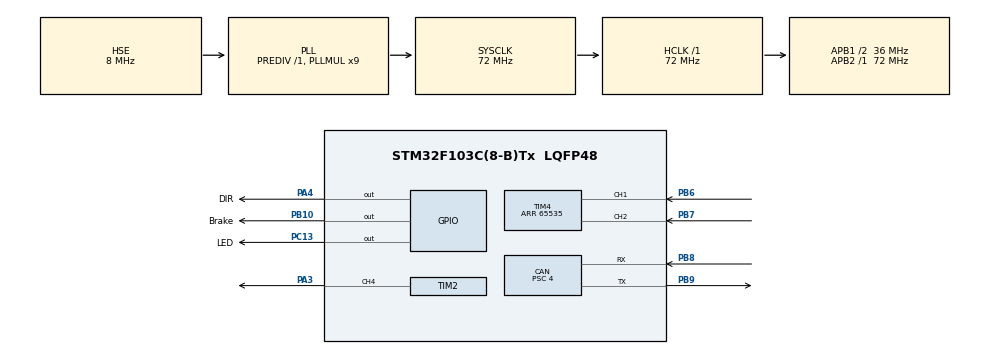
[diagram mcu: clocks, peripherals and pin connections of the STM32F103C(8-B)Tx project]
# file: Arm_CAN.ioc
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CAN.BS1=CAN_BS1_14TQ
CAN.BS2=CAN_BS2_3TQ
CAN.CalculateBaudRate=500000
CAN.CalculateTimeBit=2000
CAN.CalculateTimeQuantum=111.11111111111111
CAN.Prescaler=4
Mcu.Family=STM32F1
Mcu.Name=STM32F103C(8-B)Tx
Mcu.Package=LQFP48
NVIC.CAN1_RX1_IRQn=true\:0\:0\:false\:false\:true\:true\:true\:true
NVIC.PriorityGroup=NVIC_PRIORITYGROUP_4
NVIC.TIM4_IRQn=true\:0\:0\:false\:false\:true\:true\:true\:true
PA13.Mode=Serial_Wire
PA13.Signal=SYS_JTMS-SWDIO
PA14.Mode=Serial_Wire
PA14.Signal=SYS_JTCK-SWCLK
PA3.Signal=S_TIM2_CH4
PA4.GPIO_Label=DIR
PA4.Signal=GPIO_Output
PB10.GPIO_Label=Brake
PB10.Signal=GPIO_Output
PB6.Signal=S_TIM4_CH1
PB7.Signal=S_TIM4_CH2
PB8.Mode=CAN_Activate
PB8.Signal=CAN_RX
PB9.Mode=CAN_Activate
PB9.Signal=CAN_TX
PC13-TAMPER-RTC.GPIO_Label=LED
PC13-TAMPER-RTC.Signal=GPIO_Output
PD0-OSC_IN.Mode=HSE-External-Oscillator
PD0-OSC_IN.Signal=RCC_OSC_IN
PD1-OSC_OUT.Mode=HSE-External-Oscillator
PD1-OSC_OUT.Signal=RCC_OSC_OUT
ProjectManager.HeapSize=0x200
ProjectManager.StackSize=0x400
ProjectManager.TargetToolchain=STM32CubeIDE
RCC.AHBFreq_Value=72000000
RCC.APB1CLKDivider=RCC_HCLK_DIV2
RCC.APB1Freq_Value=36000000
RCC.APB1TimFreq_Value=72000000
RCC.APB2Freq_Value=72000000
RCC.APB2TimFreq_Value=72000000
RCC.HCLKFreq_Value=72000000
RCC.PLLMUL=RCC_PLL_MUL9
RCC.PLLSourceVirtual=RCC_PLLSOURCE_HSE
RCC.SYSCLKFreq_VALUE=72000000
RCC.SYSCLKSource=RCC_SYSCLKSOURCE_PLLCLK
RCC.USBFreq_Value=72000000
SH.S_TIM2_CH4.0=TIM2_CH4,PWM Generation4 CH4
SH.S_TIM4_CH1.0=TIM4_CH1,Encoder_Interface
SH.S_TIM4_CH2.0=TIM4_CH2,Encoder_Interface
TIM2.Channel-PWM\ Generation4\ CH4=TIM_CHANNEL_4
TIM2.Period=255-1
TIM2.Prescaler=18-1
TIM4.AutoReloadPreload=TIM_AUTORELOAD_PRELOAD_ENABLE
TIM4.EncoderMode=TIM_ENCODERMODE_TI12
TIM4.IC1Filter=15
TIM4.IC2Filter=0
TIM4.Period=65535
VP_TIM2_VS_ClockSourceINT.Mode=Internal
board=custom

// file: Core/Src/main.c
/* USER CODE BEGIN Header */
/**
  ******************************************************************************
  * @file           : main.c
  * @brief          : Main program body
  ******************************************************************************
  * @attention
  *
  * Copyright (c) 2024 STMicroelectronics.
  * All rights reserved.
  *
  * This software is licensed under terms that can be found in the LICENSE file
  * in the root directory of this software component.
  * If no LICENSE file comes with this software, it is provided AS-IS.
  *
  ******************************************************************************
  */
/* USER CODE END Header */
#include "main.h"

/* USER CODE BEGIN Includes */
#include <math.h>
#include <stdio.h>
/* USER CODE END Includes */

CAN_HandleTypeDef hcan;

TIM_HandleTypeDef htim2;
TIM_HandleTypeDef htim4;

void SystemClock_Config(void);
static void MX_GPIO_Init(void);
static void MX_CAN_Init(void);
static void MX_TIM4_Init(void);
static void MX_TIM2_Init(void);
/* USER CODE BEGIN PFP */
void resetEncoder(void); //function to reset encoder values when polling stops

/* USER CODE END PFP */

/* USER CODE BEGIN 0 */
//store ID of master CAN node
#define MASTER_ID 0x365

//store ID of first slave CAN node
#define SLAVE0_ID 0x256

//store the ID of the current slave node, change this when uploading
#define SLAVE_ID 0x256 //0x256 //0x257 //0x258

//how many pulses are seen on 1 full rotation
#define MAX_COUNT 1430

CAN_RxHeaderTypeDef RxHeader;
CAN_TxHeaderTypeDef TxHeader;
uint8_t RxData[8];
uint8_t TxData[8];
uint32_t TxMailbox;

//define prefix commands to set up CAN communication
uint8_t sysCheck=0; //000 -> 0
uint8_t polling=7; //111-> 7
uint8_t stopPoll=5; //101-> 5
uint8_t reset=1; //001 -> 1
uint8_t PID_hold = 3; //011 -> 3

//uint32_t encoderReset = 1000000000; //to prevent overflow, we set the initial position

//define variables for storing encoder values
uint32_t currentEnc=0;
uint32_t previousEnc=0; //to calculate velocity
int16_t diff=0;
int32_t pos=0; //absolute position with accuracy of 6'
//int16_t angPos=0; //angular position
uint8_t PWM=0;
uint8_t DIR=0; //PWM and DIR pins for motor direction and speed

// of the motors to a large value about which it can freely deviate

//mapping to arm -> shoulder,elbow,base,wrist1,wrist2,gripper
//arm degrees -> 90, 0, 50%, _, _, _
uint16_t resetPos[]={8660, 0, 59600, 5000, 5000, 5000}; //max count for each node to calculate angular position
//uint32_t home[]={0,0,0,0,0,0};

//powering up the brake releases it
//GPIO_PIN_RESET -> 1 -> pin HIGH
//GPIO_PIN_SET -> 0 -> pin LOW

/* USER CODE END 0 */

int main(void)
{

  /* USER CODE BEGIN 1 */
	//set the values to oscillate about this large value (no overflow)
//	for (uint8_t i=0;i<6;i++)
//	{
//		home[i] = resetPos[i] + encoderReset;
//	}

  /* USER CODE END 1 */

  /* MCU Configuration--------------------------------------------------------*/

  /* Reset of all peripherals, Initializes the Flash interface and the Systick. */
  HAL_Init();

  /* Configure the system clock */
  SystemClock_Config();

  /* Initialize all configured peripherals */
  MX_GPIO_Init();
  MX_CAN_Init();
  MX_TIM4_Init();
  MX_TIM2_Init();
  /* USER CODE BEGIN 2 */
  HAL_CAN_Start(&hcan);
  HAL_CAN_ActivateNotification(&hcan, CAN_IT_RX_FIFO1_MSG_PENDING);

  //start PWM mode for the motor
  HAL_TIM_PWM_Start(&htim2, TIM_CHANNEL_4);
  TIM2->CCR4=0; //set initial PWM value as zero
  HAL_GPIO_WritePin(DIR_GPIO_Port, DIR_Pin,DIR); //set the initial value of DIR
  //start TIM4 in encoder mode to read the encoder pulses in 4x mode
  HAL_TIM_Encoder_Start(&htim4, TIM_CHANNEL_ALL);

  //reset the encoders at the start
  resetEncoder();

  TxHeader.IDE=CAN_ID_STD;
  TxHeader.RTR=CAN_RTR_DATA;
  TxHeader.StdId=SLAVE_ID; // ID of this CAN node

  /* USER CODE END 2 */

  /* Infinite loop */
  while (1)
  {

  }
}

void SystemClock_Config(void)
{
  RCC_OscInitTypeDef RCC_OscInitStruct = {0};
  RCC_ClkInitTypeDef RCC_ClkInitStruct = {0};

  /** Initializes the RCC Oscillators according to the specified parameters
  * in the RCC_OscInitTypeDef structure.
  */
  RCC_OscInitStruct.OscillatorType = RCC_OSCILLATORTYPE_HSE;
  RCC_OscInitStruct.HSEState = RCC_HSE_ON;
  RCC_OscInitStruct.HSEPredivValue = RCC_HSE_PREDIV_DIV1;
  RCC_OscInitStruct.HSIState = RCC_HSI_ON;
  RCC_OscInitStruct.PLL.PLLState = RCC_PLL_ON;
  RCC_OscInitStruct.PLL.PLLSource = RCC_PLLSOURCE_HSE;
  RCC_OscInitStruct.PLL.PLLMUL = RCC_PLL_MUL9;
  if (HAL_RCC_OscConfig(&RCC_OscInitStruct) != HAL_OK)
  {
    Error_Handler();
  }

  /** Initializes the CPU, AHB and APB buses clocks
  */
  RCC_ClkInitStruct.ClockType = RCC_CLOCKTYPE_HCLK|RCC_CLOCKTYPE_SYSCLK
                              |RCC_CLOCKTYPE_PCLK1|RCC_CLOCKTYPE_PCLK2;
  RCC_ClkInitStruct.SYSCLKSource = RCC_SYSCLKSOURCE_PLLCLK;
  RCC_ClkInitStruct.AHBCLKDivider = RCC_SYSCLK_DIV1;
  RCC_ClkInitStruct.APB1CLKDivider = RCC_HCLK_DIV2;
  RCC_ClkInitStruct.APB2CLKDivider = RCC_HCLK_DIV1;

  if (HAL_RCC_ClockConfig(&RCC_ClkInitStruct, FLASH_LATENCY_2) != HAL_OK)
  {
    Error_Handler();
  }
}

static void MX_CAN_Init(void)
{

  hcan.Instance = CAN1;
  hcan.Init.Prescaler = 4;
  hcan.Init.Mode = CAN_MODE_NORMAL;
  hcan.Init.SyncJumpWidth = CAN_SJW_1TQ;
  hcan.Init.TimeSeg1 = CAN_BS1_14TQ;
  hcan.Init.TimeSeg2 = CAN_BS2_3TQ;
  hcan.Init.TimeTriggeredMode = DISABLE;
  hcan.Init.AutoBusOff = DISABLE;
  hcan.Init.AutoWakeUp = DISABLE;
  hcan.Init.AutoRetransmission = DISABLE;
  hcan.Init.ReceiveFifoLocked = DISABLE;
  hcan.Init.TransmitFifoPriority = DISABLE;
  if (HAL_CAN_Init(&hcan) != HAL_OK)
  {
    Error_Handler();
  }
  /* USER CODE BEGIN CAN_Init 2 */
  CAN_FilterTypeDef canfilterconfig;

  canfilterconfig.FilterActivation = CAN_FILTER_ENABLE;
  canfilterconfig.FilterBank = 10;  // from 0 to 13, which filter bank to use from the assigned ones
  canfilterconfig.FilterFIFOAssignment = CAN_FILTER_FIFO1; //accept messages at FIFO1
  canfilterconfig.FilterIdHigh = MASTER_ID<<5; //accept from only master ID
  canfilterconfig.FilterIdLow = 0;
  canfilterconfig.FilterMaskIdHigh = MASTER_ID<<5;
  canfilterconfig.FilterMaskIdLow = 0x0000;
  canfilterconfig.FilterMode = CAN_FILTERMODE_IDMASK;
  canfilterconfig.FilterScale = CAN_FILTERSCALE_32BIT;
  canfilterconfig.SlaveStartFilterBank = 0;  // doesn't matter for single CAN MCUs

  HAL_CAN_ConfigFilter(&hcan, &canfilterconfig);

  /* USER CODE END CAN_Init 2 */

}

static void MX_TIM2_Init(void)
{

  TIM_ClockConfigTypeDef sClockSourceConfig = {0};
  TIM_MasterConfigTypeDef sMasterConfig = {0};
  TIM_OC_InitTypeDef sConfigOC = {0};

  htim2.Instance = TIM2;
  htim2.Init.Prescaler = 18-1;
  htim2.Init.CounterMode = TIM_COUNTERMODE_UP;
  htim2.Init.Period = 255-1;
  htim2.Init.ClockDivision = TIM_CLOCKDIVISION_DIV1;
  htim2.Init.AutoReloadPreload = TIM_AUTORELOAD_PRELOAD_DISABLE;
  if (HAL_TIM_Base_Init(&htim2) != HAL_OK)
  {
    Error_Handler();
  }
  sClockSourceConfig.ClockSource = TIM_CLOCKSOURCE_INTERNAL;
  if (HAL_TIM_ConfigClockSource(&htim2, &sClockSourceConfig) != HAL_OK)
  {
    Error_Handler();
  }
  if (HAL_TIM_PWM_Init(&htim2) != HAL_OK)
  {
    Error_Handler();
  }
  sMasterConfig.MasterOutputTrigger = TIM_TRGO_RESET;
  sMasterConfig.MasterSlaveMode = TIM_MASTERSLAVEMODE_DISABLE;
  if (HAL_TIMEx_MasterConfigSynchronization(&htim2, &sMasterConfig) != HAL_OK)
  {
    Error_Handler();
  }
  sConfigOC.OCMode = TIM_OCMODE_PWM1;
  sConfigOC.Pulse = 0;
  sConfigOC.OCPolarity = TIM_OCPOLARITY_HIGH;
  sConfigOC.OCFastMode = TIM_OCFAST_DISABLE;
  if (HAL_TIM_PWM_ConfigChannel(&htim2, &sConfigOC, TIM_CHANNEL_4) != HAL_OK)
  {
    Error_Handler();
  }
  HAL_TIM_MspPostInit(&htim2);

}

static void MX_TIM4_Init(void)
{

  TIM_Encoder_InitTypeDef sConfig = {0};
  TIM_MasterConfigTypeDef sMasterConfig = {0};

  htim4.Instance = TIM4;
  htim4.Init.Prescaler = 0;
  if (SLAVE_ID-SLAVE0_ID == 1) //shoulder node needs to count down
	  htim4.Init.CounterMode = TIM_COUNTERMODE_DOWN;
  else
	  htim4.Init.CounterMode = TIM_COUNTERMODE_UP;
  htim4.Init.Period = 65535;
  htim4.Init.ClockDivision = TIM_CLOCKDIVISION_DIV1;
  htim4.Init.AutoReloadPreload = TIM_AUTORELOAD_PRELOAD_ENABLE;
  sConfig.EncoderMode = TIM_ENCODERMODE_TI12;
  sConfig.IC1Polarity = TIM_ICPOLARITY_RISING;
  sConfig.IC1Selection = TIM_ICSELECTION_DIRECTTI;
  sConfig.IC1Prescaler = TIM_ICPSC_DIV1;
  sConfig.IC1Filter = 15;
  sConfig.IC2Polarity = TIM_ICPOLARITY_RISING;
  sConfig.IC2Selection = TIM_ICSELECTION_DIRECTTI;
  sConfig.IC2Prescaler = TIM_ICPSC_DIV1;
  sConfig.IC2Filter = 0;
  if (HAL_TIM_Encoder_Init(&htim4, &sConfig) != HAL_OK)
  {
    Error_Handler();
  }
  sMasterConfig.MasterOutputTrigger = TIM_TRGO_RESET;
  sMasterConfig.MasterSlaveMode = TIM_MASTERSLAVEMODE_DISABLE;
  if (HAL_TIMEx_MasterConfigSynchronization(&htim4, &sMasterConfig) != HAL_OK)
  {
    Error_Handler();
  }

}

static void MX_GPIO_Init(void)
{
  GPIO_InitTypeDef GPIO_InitStruct = {0};

  /* GPIO Ports Clock Enable */
  __HAL_RCC_GPIOC_CLK_ENABLE();
  __HAL_RCC_GPIOD_CLK_ENABLE();
  __HAL_RCC_GPIOA_CLK_ENABLE();
  __HAL_RCC_GPIOB_CLK_ENABLE();

  /*Configure GPIO pin Output Level */
  HAL_GPIO_WritePin(LED_GPIO_Port, LED_Pin, GPIO_PIN_RESET);

  /*Configure GPIO pin Output Level */
  HAL_GPIO_WritePin(DIR_GPIO_Port, DIR_Pin, GPIO_PIN_RESET);

  /*Configure GPIO pin Output Level */
  HAL_GPIO_WritePin(Brake_GPIO_Port, Brake_Pin, GPIO_PIN_RESET);

  /*Configure GPIO pin : LED_Pin */
  GPIO_InitStruct.Pin = LED_Pin;
  GPIO_InitStruct.Mode = GPIO_MODE_OUTPUT_PP;
  GPIO_InitStruct.Pull = GPIO_NOPULL;
  GPIO_InitStruct.Speed = GPIO_SPEED_FREQ_LOW;
  HAL_GPIO_Init(LED_GPIO_Port, &GPIO_InitStruct);

  /*Configure GPIO pin : DIR_Pin */
  GPIO_InitStruct.Pin = DIR_Pin;
  GPIO_InitStruct.Mode = GPIO_MODE_OUTPUT_PP;
  GPIO_InitStruct.Pull = GPIO_NOPULL;
  GPIO_InitStruct.Speed = GPIO_SPEED_FREQ_LOW;
  HAL_GPIO_Init(DIR_GPIO_Port, &GPIO_InitStruct);

  /*Configure GPIO pin : Brake_Pin */
  GPIO_InitStruct.Pin = Brake_Pin;
  GPIO_InitStruct.Mode = GPIO_MODE_OUTPUT_PP;
  GPIO_InitStruct.Pull = GPIO_NOPULL;
  GPIO_InitStruct.Speed = GPIO_SPEED_FREQ_LOW;
  HAL_GPIO_Init(Brake_GPIO_Port, &GPIO_InitStruct);

}

/* USER CODE BEGIN 4 */
void HAL_CAN_RxFifo1MsgPendingCallback(CAN_HandleTypeDef *hcan1)
{
	//receive message stored in the CAN FIFO1 buffer
	if (HAL_CAN_GetRxMessage(hcan1, CAN_RX_FIFO1, &RxHeader, RxData) != HAL_OK)
	{
		Error_Handler();
	}

	//check if the message is coming from master node and whether it is meant for the current slave node
	//break down the command into qualifier and address
	uint8_t command=RxData[0]>>5; //look at the first 3 bits
	uint8_t address=(command<<5)^RxData[0];

	if (RxHeader.DLC==3 && address==SLAVE_ID-SLAVE0_ID) //polling mode will send 3 bytes of data now
	{
		if (command==polling || command == PID_hold)
		{
			//set PWM and direction pins
			PWM=RxData[1];
			DIR=RxData[2];
			TIM2->CCR4=PWM; //set the duty cycle as an 8 bit value that is received

			if (command == polling){
			if (PWM > 0)
				HAL_GPIO_WritePin(Brake_GPIO_Port, Brake_Pin, GPIO_PIN_SET); //set the pin high to open the brake
			else
				HAL_GPIO_WritePin(Brake_GPIO_Port, Brake_Pin, GPIO_PIN_RESET); //activate the brake if no command is given
			}
			else
			{
				HAL_GPIO_WritePin(Brake_GPIO_Port, Brake_Pin, GPIO_PIN_RESET); //activate the brake if no command is given
			}
			//set the direction pin
			HAL_GPIO_WritePin(DIR_GPIO_Port, DIR_Pin,DIR); //set the initial value of DIR

			//extract information about encoder and send to master node
			TxHeader.DLC=6; //send 6 bytes of data for encoder input

			currentEnc=TIM4->CNT; //get the current count of encoder and remove offset
			if (currentEnc==previousEnc)
				diff=0; //no change in velocity
			else if (currentEnc>previousEnc)
			{
				if (__HAL_TIM_IS_TIM_COUNTING_DOWN(&htim4)) //underflow occurred
					diff=-previousEnc-__HAL_TIM_GET_AUTORELOAD(&htim4)+currentEnc;
				else
					diff=currentEnc-previousEnc;
			}
			else
			{
				if (__HAL_TIM_IS_TIM_COUNTING_DOWN(&htim4))
					diff=currentEnc-previousEnc;
				else //overflow occurred
					diff=currentEnc+__HAL_TIM_GET_AUTORELOAD(&htim4)-previousEnc;
			}
			pos+=diff;
			previousEnc=currentEnc;

			//performing the calculations for data transfer
			//first 4 bytes -> absolute position value
			//next 2 bytes -> angular position
			//next 2 bytes -> difference in encoder readings

			//extracting bytes for absolute encoder position
			uint8_t b0 = (pos>>24)&0xFF;
			uint8_t b1 = (pos>>16)&0xFF;
			uint8_t b2 = (pos>>8)&0xFF;
			uint8_t b3 = (pos)&0xFF;

			/*//extracting bytes for angular position
			angPos=round((3600.0*currentEnc)/(double)MAX_COUNT);
			uint8_t b4 = (angPos>>8)&0xFF;
			uint8_t b5 = (angPos)&0xFF;*/

			//extracting bytes for difference in encoder values
			uint8_t b4 = (diff>>8)&0XFF;
			uint8_t b5 = (diff)&0xFF;

			//preparing data for transmission
			TxData[0]=b0;
			TxData[1]=b1;
			TxData[2]=b2;
			TxData[3]=b3;
			TxData[4]=b4;
			TxData[5]=b5;

			//send the CAN message
			if (HAL_CAN_AddTxMessage(&hcan, &TxHeader, TxData, &TxMailbox) != HAL_OK)
			{
				Error_Handler ();
			}

			//toggle GPIO pin to indicate continuous message transmission
			//use this option for debugging
			HAL_GPIO_TogglePin(LED_GPIO_Port, LED_Pin);
		}
	}

	if (RxHeader.DLC==1 && address==SLAVE_ID-SLAVE0_ID)
	{
		HAL_GPIO_WritePin(Brake_GPIO_Port, Brake_Pin, GPIO_PIN_RESET); //activate the brake if no command is given

		//perform the systems check of CAN nodes
		if (command==sysCheck)
		{
			//HAL_GPIO_WritePin(Brake_GPIO_Port, Brake_Pin, GPIO_PIN_SET); //close the brake when not moving

			TxHeader.DLC=1; //send 1 byte of data as a systems check
			TxData[0]=RxData[0];
			//transmit the received message back to master CAN node
			HAL_GPIO_TogglePin(LED_GPIO_Port, LED_Pin);
			if (HAL_CAN_AddTxMessage(&hcan, &TxHeader, TxData, &TxMailbox) != HAL_OK)
			{
				Error_Handler ();
			}
		}

		if (command==reset)
		{
			resetEncoder(); //reset the encoders when button is pressed
		}

		/*if (command==stopPoll)
		{
			//reset the encoder to initial state
			resetEncoder();

			//stop the PWM signals
			TIM1->CCR4=0; //set the duty cycle as an 8 bit value that is received

			//set the direction pin
			HAL_GPIO_WritePin(DIR_GPIO_Port, DIR_Pin,GPIO_PIN_RESET); //set the initial value of DIR
			HAL_GPIO_WritePin(LED_GPIO_Port, LED_Pin, GPIO_PIN_RESET);

		}*/
	}
}

void resetEncoder()
{
	//reset all the values for encoder data sharing
	// EXECUTE THE COMMAND ONLY AFTER MOVING TO HOME POSITION
	currentEnc=resetPos[SLAVE_ID - SLAVE0_ID];
	previousEnc=resetPos[SLAVE_ID - SLAVE0_ID];
	diff=0;
	pos=resetPos[SLAVE_ID - SLAVE0_ID];
	//angPos=0;
	TIM4->CNT=0; //reset the counter
}

/* USER CODE END 4 */

void Error_Handler(void)
{
  __disable_irq();
  while (1)
  {
  }
}
